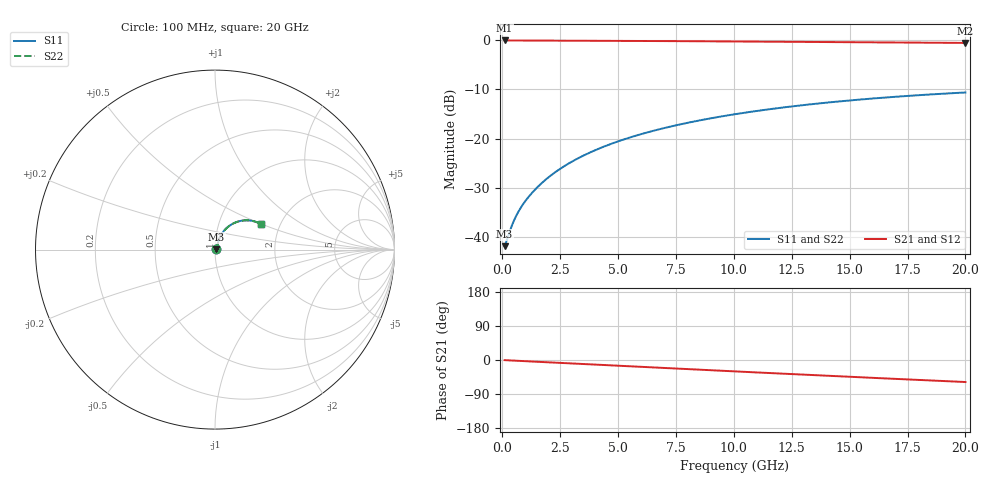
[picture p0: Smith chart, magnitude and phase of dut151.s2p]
! Touchstone file exported from HFSS 2026.1.0
!  File:  C:/ffzhzh/LocalFiles/Ansys_Project_Files/temp_train_BSMRDL_151_1782986615_40604.aedt
!  Generated:  06:05:08 PM Jul  2, 2026
!  Design:  BSMRDL
!  Project:  temp_train_BSMRDL_151_1782986615_40604
! Variables:
!  h_bsmrdl = 2.02um
!  h_ox = 20um
!  h_rdl = 5um
!  h_sub = 80um
!  h_tmrdl = 5um
!  h_tsv = 80um
!  h_via = 3um
!  l_bsmrdl = 985.95um
!  l_sub = 1385.95um
!  l_tmrdl = 200um
!  m_sub = 200um
!  pitch = 33.15um
!  r_tsv = 6um
!  s_tmrdl = 10um
!  w_bsmrdl = 23.15um
!  w_sub = 500um
!  w_tmrdl = 12um
!  x_tsv_center1 = 206um
!  x_tsv_center2 = 1215.1um
!  x_tsv_center3 = 1427.1um
!  x_tsv_center4 = 2436.2um
!  x_tsv_center5 = 2648.2um
!  x_tsv_center6 = 3657.3um
# GHz S MA R 50.000000
! Terminal data exported
! Port[1] = BSM_RDL1_1_T1
! Port[2] = BSM_RDL1_1_T2
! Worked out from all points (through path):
!   200 points, 100 MHz to 20 GHz, reference 50 ohm
!   highest |S21| = -0.07 dB at 100 MHz (marker M1); lowest = -0.6 dB at 20 GHz (marker M2)
!   group delay of S21, straight-line fit = 8.07 ps
!   lowest |S11| = -41.8 dB at 100 MHz (marker M3), VSWR 1.02, Z = 50.8 + j0.252 ohm
!   |S11| at or under -10 dB: start of sweep to end of sweep
!   |S22| runs from -41.8 to -10.6 dB; largest |S21 - S12| = 2.3e-14
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0.1  0.008117 17.8  0.9923 -0.3  0.9923 -0.3  0.008117 17.8
! Gamma 0 0 0 0
! Port Impedance 50 0 50 0
0.4  0.01288 45.8  0.9912 -1.3  0.9912 -1.3  0.01289 45.9
0.5  0.0147 49.8  0.9908 -1.6  0.9908 -1.6  0.0147 49.8
0.6  0.01649 52.7  0.9904 -1.9  0.9904 -1.9  0.01649 52.7
0.7  0.01824 55.0  0.99 -2.3  0.99 -2.3  0.01824 55.0
0.9  0.02167 58.5  0.9895 -2.9  0.9895 -2.9  0.02167 58.5
1.2  0.02677 62.2  0.9888 -3.8  0.9888 -3.8  0.02677 62.2
1.4  0.0302 64.0  0.9885 -4.4  0.9885 -4.4  0.0302 64.0
1.7  0.03539 65.9  0.9881 -5.3  0.9881 -5.3  0.03539 65.9
2.2  0.04416 67.9  0.9874 -6.8  0.9874 -6.8  0.04416 67.8
2.8  0.05482 68.8  0.9866 -8.6  0.9866 -8.6  0.05482 68.8
3.5  0.06731 68.8  0.9855 -10.7  0.9855 -10.7  0.06731 68.8
4.2  0.07977 68.2  0.9843 -12.8  0.9843 -12.8  0.07977 68.2
5  0.0939 67.0  0.9828 -15.2  0.9828 -15.2  0.0939 67.0
5.9  0.1096 65.3  0.9809 -17.9  0.9809 -17.9  0.1096 65.3
6.8  0.1249 63.3  0.9787 -20.5  0.9787 -20.5  0.1249 63.3
8.4  0.1514 59.4  0.9743 -25.3  0.9743 -25.3  0.1514 59.4
10.1  0.1779 55.0  0.9691 -30.3  0.9691 -30.3  0.1779 55.0
11.7  0.2014 50.8  0.9638 -34.9  0.9638 -34.9  0.2014 50.7
13.4  0.2244 46.2  0.958 -39.8  0.958 -39.8  0.2244 46.2
16.7  0.2633 37.4  0.9469 -49.0  0.9469 -49.0  0.2633 37.3
20  0.2943 28.6  0.9367 -58.1  0.9367 -58.1  0.2943 28.5
